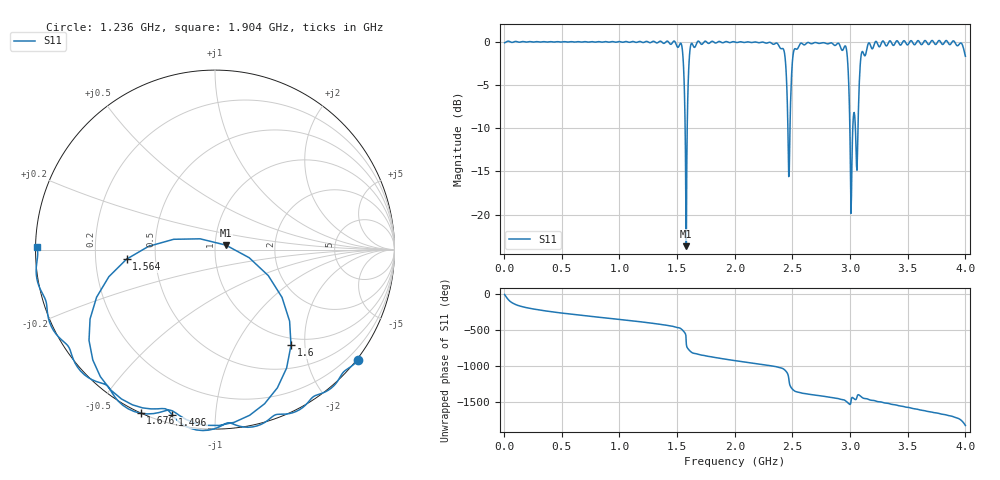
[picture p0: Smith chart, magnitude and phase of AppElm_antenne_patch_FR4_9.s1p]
! TOUCHSTONE file generated by CST MICROWAVE STUDIO
! Date and time: Tue Jun 14 14:10:52 2022
! Project name: AppElm_antenne_patch_FR4.cst
! Parameters = {L=45; W=58.5; e=0.035; h=1.6; lambda=0.190476; ls=120; w0=2.54; w1=0.847; ws=138; y0=18; y1=23.8}
! Header version: 2018
! Port assignment regex: !\s*Touchstone port\s*([0-9]+)\s*=\s*(CST MWS port|CST DS port)\s*([0-9]+|Zmin|Zmax)\s*\(\"(.*)\"\)(\s*mode\s*([0-9]+))?.*
! Touchstone port assignment:
! Touchstone port 1 = CST MWS port 1 ("")
# GHz S MA R 50
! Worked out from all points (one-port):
!   1000 points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, 4 MHz to 4 GHz, reference 50 ohm
!   lowest |S11| = -23.7 dB at 1.58 GHz (marker M1), VSWR 1.14, Z = 56.4 + j2.84 ohm
!   |S11| at or under -10 dB: 1.569 GHz to 1.588 GHz (18.25 MHz wide, 1.16 % of centre); 2.998 GHz to 3.023 GHz (25.66 MHz wide, 0.852 % of centre); 3.046 GHz to 3.069 GHz (22.74 MHz wide, 0.744 % of centre)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
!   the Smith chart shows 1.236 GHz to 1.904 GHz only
!   S11 on the Smith chart (normalised r, x): 1.236 GHz: -0.03, -2.92; 1.496 GHz: 0.04, -0.77; 1.564 GHz: 0.34, -0.05; 1.6 GHz: 0.87, -1.73; 1.676 GHz: -0.00, -0.64; 1.904 GHz: 0.00, +0.01
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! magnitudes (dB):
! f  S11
! 4 MHz  -0.1
! 504 MHz  0.0
! 1.004 GHz  0.0
! 1.236 GHz  0.1
! 1.496 GHz  -0.4
! 1.504 GHz  -0.6
! 1.544 GHz  -0.7
! 1.564 GHz  -6.1
! 1.58 GHz  -23.7
! 1.6 GHz  -3.3
! 1.62 GHz  -0.3
! 1.676 GHz  0.0
! 1.904 GHz  -0.1
! 2.004 GHz  0.0
! 2.412 GHz  -0.8
! 2.436 GHz  -1.8
! 2.468 GHz  -15.6
! 2.484 GHz  -7.0
! 2.504 GHz  -1.7
! 2.576 GHz  -0.1
! 2.956 GHz  -0.5
! 2.976 GHz  -1.8
! 3.004 GHz  -15.7
! 3.06 GHz  -14.9
! 3.092 GHz  -2.0
! 3.112 GHz  -1.2
! 3.504 GHz  -0.3
! 4 GHz  -1.7
